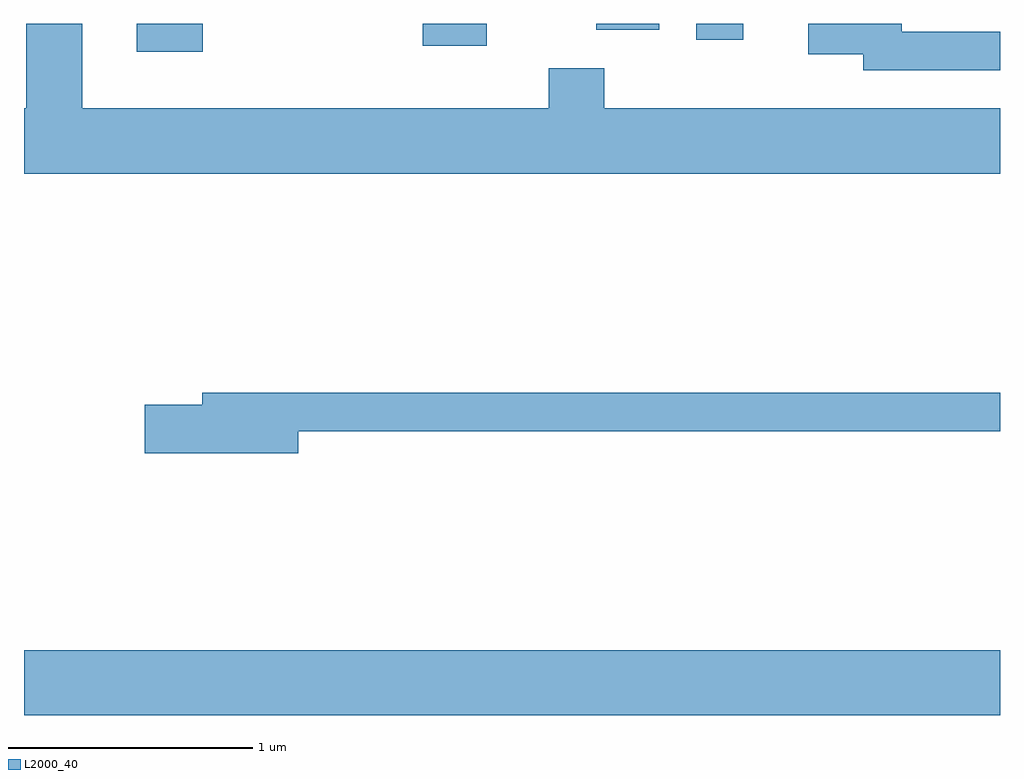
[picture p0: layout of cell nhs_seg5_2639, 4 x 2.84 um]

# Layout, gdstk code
import gdstk
lib = gdstk.Library(unit=1e-6, precision=1e-09)
def R(c, l, rs):  # rectangles x0, y0, x1, y1
    for r in rs: c.add(gdstk.rectangle(r[:2], r[2:], *l))
def P(c, l, *ps):  # polygons
    for p in ps: c.add(gdstk.Polygon(p, *l))
L2000_40 = (2000, 40)

nhs_seg5_2639 = lib.new_cell('nhs_seg5_2639')
R(nhs_seg5_2639, L2000_40, [(263.611,1461.236,267.611,1461.504), (264.073,1463.956,264.344,1464.072), (265.246,1463.981,265.508,1464.072), (266.366,1464.006,266.559,1464.072), (265.956,1464.046,266.214,1464.072)])
P(nhs_seg5_2639, L2000_40, [(267.611,1463.724),(265.989,1463.724),(265.989,1463.889),(265.761,1463.889),(265.761,1463.724),(263.849,1463.724),(263.849,1464.072),(263.621,1464.072),(263.621,1463.724),(263.611,1463.724),(263.611,1463.456),(267.611,1463.456)],
  [(267.611,1464.039),(267.209,1464.039),(267.209,1464.072),(266.826,1464.072),(266.826,1463.946),(267.051,1463.946),(267.051,1463.881),(267.611,1463.881)],
  [(264.734,1462.401),(267.611,1462.401),(267.611,1462.559),(264.341,1462.559),(264.341,1462.509),(264.106,1462.509),(264.106,1462.311),(264.734,1462.311)])

lib.write_gds('nhs_seg5_2639.gds')
